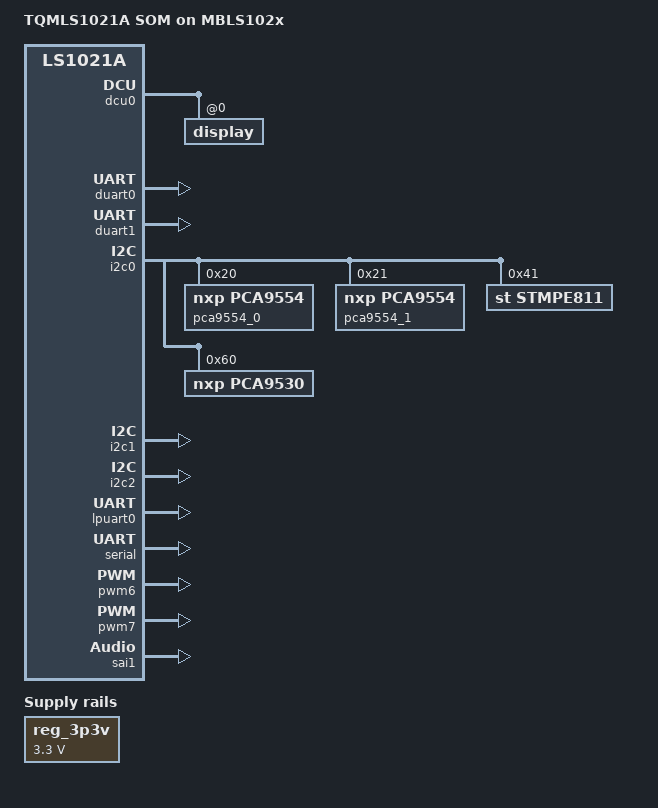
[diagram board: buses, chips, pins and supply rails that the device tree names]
/*
 * Copyright 2013-2014 Freescale Semiconductor, Inc.
 *
 * This program is free software; you can redistribute it and/or modify
 * it under the terms of the GNU General Public License as published by
 * the Free Software Foundation; either version 2 of the License, or
 * (at your option) any later version.
 */

/dts-v1/;
#include "ls1021a-tqmls1021a.dtsi"

/ {
	model = "TQMLS1021A SOM on MBLS102x";

	regulators {
		compatible = "simple-bus";
		#address-cells = <1>;
		#size-cells = <0>;

		reg_3p3v: regulator@0 {
			compatible = "regulator-fixed";
			reg = <0>;
			regulator-name = "3P3V";
			regulator-min-microvolt = <3300000>;
			regulator-max-microvolt = <3300000>;
			regulator-always-on;
		};
	};
};

&dcu0 {
	display = <&display>;
	status = "okay";

	display: display@0 {
		bits-per-pixel = <24>;

		display-timings {
			native-mode = <&timing0>;
			timing0: nl4827hc19 {
				clock-frequency = <10870000>;
				hactive = <480>;
				vactive = <272>;
				hback-porch = <2>;
				hfront-porch = <2>;
				vback-porch = <2>;
				vfront-porch = <2>;
				hsync-len = <41>;
				vsync-len = <4>;
				hsync-active = <1>;
				vsync-active = <1>;
			};
		};
	};
};

&duart0 {
	status = "okay";
};

&duart1 {
	status = "okay";
};

&i2c0 {
	status = "okay";
	pca9554_0: pca954@20 {
		compatible = "nxp,pca9554";
		reg = <0x20>;
/*		interrupts = <GIC_SPI 168 IRQ_TYPE_LEVEL_HIGH>; */
		status = "okay";
	};

	pca9554_1: pca954@21 {
		compatible = "nxp,pca9554";
		reg = <0x21>;
/*		interrupts = <GIC_SPI 169 IRQ_TYPE_LEVEL_HIGH>; */
		status = "okay";
	};

	stmpe811@41 {
		compatible = "st,stmpe811";
		reg = <0x41>;
		#address-cells = <1>;
		#size-cells = <0>;
/*
		interrupts = <GIC_SPI 167 IRQ_TYPE_LEVEL_HIGH>;
		interrupt-controller;
*/
		status = "okay";

		stmpe_gpio {
			compatible = "stmpe,gpio";
			gpio-controller;
			#gpio-cells = <2>;
			gpio,norequest-mask = <0xF0>;
		};

		stmpe_touchscreen {
			compatible = "stmpe,ts";
/*
 * TODO:
 * this has to be configured per panel
 */
			ts,sample-time = <4>;
			ts,mod-12b = <1>;
			ts,ref-sel = <0>;
			ts,adc-freq = <1>;
			ts,ave-ctrl = <1>;
			ts,touch-det-delay = <3>;
			ts,settling = <4>;
			ts,fraction-z = <7>;
			ts,i-drive = <1>;
		};
	};

	pca9530: pca9530@60 {
		compatible = "nxp,pca9530";
		reg = <0x60>;
		status = "okay";
	};
};

&i2c1 {
	status = "okay";
};

&i2c2 {
	status = "okay";
};

&lpuart0 {
	status = "okay";
};

&uqe {
	tdma: ucc@2000 {
		compatible = "fsl,ucc-tdm";
		rx-clock-name = "clk8";
		tx-clock-name = "clk9";
		fsl,rx-sync-clock = "rsync_pin";
		fsl,tx-sync-clock = "tsync_pin";
		fsl,tx-timeslot = <0xfffffffe>;
		fsl,rx-timeslot = <0xfffffffe>;
		fsl,tdm-framer-type = "e1";
		fsl,tdm-mode = "normal";
		fsl,tdm-id = <0>;
		fsl,siram-entry-id = <0>;
	};

	serial: ucc@2200 {
		device_type = "serial";
		compatible = "ucc_uart";
		port-number = <1>;
		rx-clock-name = "brg2";
		tx-clock-name = "brg2";
	};
};

&pwm6 {
	status = "okay";
};

&pwm7 {
	status = "okay";
};

&sai1 {
	status = "okay";
};
